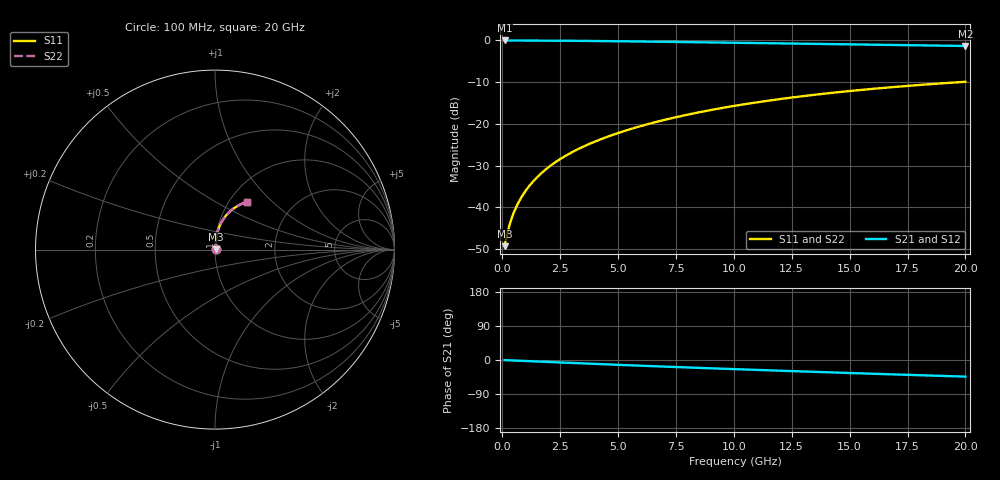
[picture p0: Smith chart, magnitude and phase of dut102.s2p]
! Touchstone file exported from HFSS 2024.1.0
!  File:  C:/UserFiles/LocalFiles/RDL_TSV_Batchsim/temp_RDL_bottom_102_1778695294.aedt
!  Generated:  02:03:59 AM May 14, 2026
!  Design:  RDL_bottom
!  Project:  temp_RDL_bottom_102_1778695294
!  Setup:  Setup1
!  Solution:  Sweep
! Variables:
!  dtsv = 10.80580581um
!  hbump = 3um
!  htsv = 93.51um
!  ldown = 698.57um
!  lrdl = 100um
!  p = 40
!  p1 = 40.32um
!  rhole = 1um
!  t = 450um
!  tdown = 4.1um
!  trdl = 3.915915916um
!  wdown = 22.03um
!  wrdl = 20um
# GHz S MA R 50.000000
! Terminal data exported
! Port[1] = RDL1_T1
! Port[2] = RDL1_T2
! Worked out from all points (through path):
!   200 points, 100 MHz to 20 GHz, reference 50 ohm
!   highest |S21| = -0.03 dB at 100 MHz (marker M1); lowest = -1.3 dB at 20 GHz (marker M2)
!   group delay of S21, straight-line fit = 6.04 ps
!   lowest |S11| = -49.3 dB at 100 MHz (marker M3), VSWR 1.01, Z = 50.3 + j0.178 ohm
!   |S11| at or under -10 dB: start of sweep to 19.78 GHz
!   |S22| runs from -49.3 to -9.9 dB; largest |S21 - S12| = 2.3e-15
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0.1  0.003434 31.1  0.9971 -0.3  0.9971 -0.3  0.003434 31.1
! Gamma 0 0 0 0
! Port Impedance 50 0 50 0
0.2  0.004654 47.6  0.9968 -0.6  0.9968 -0.6  0.004654 47.6
0.3  0.006005 56.2  0.9966 -0.8  0.9966 -0.8  0.006005 56.2
0.4  0.007361 61.5  0.9964 -1.1  0.9964 -1.1  0.007361 61.5
0.5  0.008717 65.3  0.9962 -1.3  0.9962 -1.3  0.008717 65.3
0.6  0.01008 68.2  0.996 -1.6  0.996 -1.6  0.01008 68.2
0.8  0.01285 72.4  0.9956 -2.1  0.9956 -2.1  0.01285 72.4
1  0.01568 75.3  0.9952 -2.7  0.9952 -2.7  0.01568 75.3
1.2  0.01855 77.3  0.9948 -3.2  0.9948 -3.2  0.01855 77.3
1.7  0.02587 80.3  0.9934 -4.5  0.9934 -4.5  0.02587 80.3
2.2  0.03335 81.9  0.9917 -5.8  0.9917 -5.8  0.03335 82.0
2.8  0.04251 82.9  0.989 -7.3  0.989 -7.3  0.04251 83.0
3.5  0.05343 83.4  0.9854 -9.1  0.9854 -9.1  0.05344 83.4
4.2  0.06462 83.4  0.9812 -10.8  0.9812 -10.8  0.06463 83.4
5  0.0777 83.0  0.9758 -12.8  0.9758 -12.8  0.07772 83.1
6.8  0.1081 81.2  0.9624 -17.0  0.9624 -17.0  0.1082 81.2
8.4  0.1359 78.8  0.9497 -20.6  0.9497 -20.6  0.136 78.9
10.1  0.1656 75.8  0.9358 -24.3  0.9358 -24.3  0.1657 75.9
11.7  0.1932 72.8  0.9226 -27.7  0.9226 -27.7  0.1933 72.8
13.4  0.2216 69.4  0.9087 -31.2  0.9087 -31.2  0.2218 69.4
16.7  0.2732 62.7  0.8821 -37.7  0.8821 -37.7  0.2735 62.8
20  0.3191 56.3  0.8564 -43.8  0.8564 -43.8  0.3194 56.3
